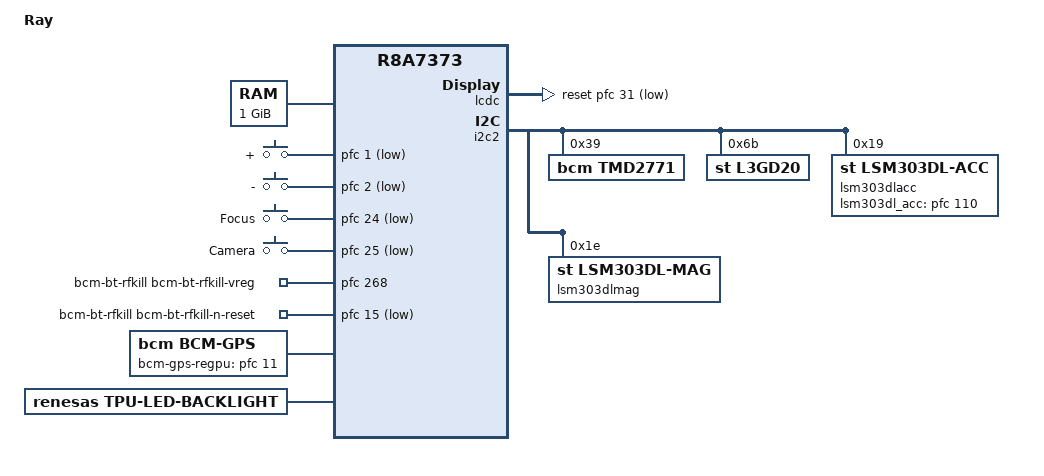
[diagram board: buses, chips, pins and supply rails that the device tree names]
/******************************************************************************/
/*                                                                            */
/* Copyright 2014 Broadcom Corporation                                        */
/*                                                                            */
/* Unless you and Broadcom execute a separate written software license        */
/* agreement governing use of this software, this software is licensed        */
/* to you under the terms of the GNU General Public License version 2         */
/* (the GPL), available at                                                    */
/*                                                                            */
/* http://www.broadcom.com/licenses/GPLv2.php                                 */
/*                                                                            */
/* with the following added to such license:                                  */
/*                                                                            */
/* As a special exception, the copyright holders of this software give        */
/* you permission to link this software with independent modules, and         */
/* to copy and distribute the resulting executable under terms of your        */
/* choice, provided that you also meet, for each linked independent           */
/* module, the terms and conditions of the license of that module.            */
/* An independent module is a module which is not derived from this           */
/* software. The special exception does not apply to any modifications        */
/* of the software.                                                           */
/*                                                                            */
/* Notwithstanding the above, under no circumstances may you combine          */
/* this software in any way with any other Broadcom software provided         */
/* under a license other than the GPL, without Broadcom's express             */
/* prior written consent.                                                     */
/*                                                                            */
/******************************************************************************/

#include "eos-board-common.dtsi"
#include <dt-bindings/gpio/gpio.h>
#include <dt-bindings/input/input.h>

/{
	model = "Ray";
	compatible = "renesas,ray", "renesas,r8a7373";

	chosen {
		bootargs = "console=ttySC0,115200 earlyprintk=sh-sci.0,115200";
		linux,sysrq-reset-seq {
			keyset = <KEY_VOLUMEDOWN KEY_VOLUMEUP>;
			timeout-ms = <3000>;
		};
	};

	memory@40000000 {
		device_type = "memory";
		reg = <0x40000000 0x40000000>;
	};

	gpio-keys {
		compatible = "gpio-keys";
		#address-cells = <0>;
		#size-cells = <0>;
		pinctrl-names = "default";
		pinctrl-0 = <&key_pins>;

		volume-up {
			label = "+";
			gpios = <&pfc 1 GPIO_ACTIVE_LOW>;
			linux,code = <KEY_VOLUMEUP>;
			gpio-key,wakeup;
		};

		volume-down {
			label = "-";
			gpios = <&pfc 2 GPIO_ACTIVE_LOW>;
			linux,code = <KEY_VOLUMEDOWN>;
			gpio-key,wakeup;
		};

		focus {
			label = "Focus";
			gpios = <&pfc 24 GPIO_ACTIVE_LOW>;
			linux,code = <KEY_CAMERA_FOCUS>;
			gpio-key,wakeup;
		};

		camera {
			label = "Camera";
			gpios = <&pfc 25 GPIO_ACTIVE_LOW>;
			linux,code = <KEY_CAMERA>;
			gpio-key,wakeup;
		};
	};

	bcm-bt-rfkill {
		compatible = "bcm,bcm-bt-rfkill";
		bcm-bt-rfkill-vreg-gpio = <&pfc 268 GPIO_ACTIVE_HIGH>;
		bcm-bt-rfkill-n-reset-gpio = <&pfc 15 GPIO_ACTIVE_LOW>;
	};

	lsm303dl-input {
		compatible = "st,lsm303dl-input";
	};

	sound {
		compatible = "renesas,fsi-snd-d2153";
		renesas,fsia = <&fsia>;
		renesas,fsib = <&fsib>;
		renesas,mclk-freq = <13000000>;
		jack-polarity;
		renesas,audio-routing =
			"RECCHL", "AIFOUTL",
			"RECCHR", "AIFOUTR",
			"AIFINL", "VCLK4",
			"AIFINR", "VCLK4",
			"AIFOUTL", "VCLK4",
			"AIFOUTR", "VCLK4",
			"Headphone Jack Left", "Headphone Left PGA",
			"Headphone Jack Right", "Headphone Right PGA",
			"Speaker", "Speaker PGA",
			"Earpiece", "Earpiece PGA";
	};

	bcm-gps {
		compatible = "bcm,bcm-gps";
		bcm-gps-hostwake = <&pfc 0 GPIO_ACTIVE_HIGH>;
		bcm-gps-regpu-gpio = <&pfc 11 GPIO_ACTIVE_HIGH>;
	};

	backlight {
		compatible = "renesas,tpu-led-backlight";
		renesas,tpu-channel = "TPU0TO3";
		max-brightness = <255>;
		default-brightness = <143>;
		pinctrl-names = "default", "idle";
		pinctrl-0 = <&backlight_pin>;
		pinctrl-1 = <&backlight_pin_hiz>;
	};
};

&lcdc {
	pname = "NT35516";
	reset-gpio = <&pfc 31 GPIO_ACTIVE_LOW>;
	te-irq = <&pfc 27 GPIO_ACTIVE_HIGH>;
	esd-irq = <&pfc 6 GPIO_ACTIVE_HIGH>;
};

&pfc {
	hogs {
		unused-pins {
			renesas,groups =
				"scifa0_clk", "scifa1_ctrl", "scifa1_clk",
				"scifb3_data", "vio_cko5", "bsc_rd_we16",
				"bsc_cs0", "bsc_cs2", "bsc_cs4",
				"bsc_wait", "bsc_rdwr", "bsc_data16",
				"bsc_cko", "bsc_addr_0_10","fsib_mclk_in",
				"sdhi2_data4", "sdhi2_ctrl", "sdhi0_wp";
			renesas,pins =
				"PORT3", "PORT6", "PORT8", "PORT10", "PORT14",
				"PORT17", "PORT18", "PORT23", "PORT26",
				"PORT29", "PORT33", "PORT44", "PORT46",
				"PORT47", "PORT72", "PORT73", "PORT74",
				"PORT75", "PORT80", "PORT81", "PORT82",
				"PORT83", "PORT86", "PORT87", "PORT88",
				"PORT89", "PORT90", "PORT96", "PORT97",
				"PORT102", "PORT103", "PORT104", "PORT105",
				"PORT107", "PORT110", "PORT140", "PORT141",
				"PORT142", "PORT198", "PORT199", "PORT275",
				"PORT276", "PORT277", "PORT311", "PORT312";
			bias-pull-down;
		};
	};

	key_pins: keys {
		renesas,pins = "PORT1", "PORT2", "PORT24", "PORT25";
		bias-pull-up;
	};

	backlight_pin: backlight {
		renesas,groups = "tpu0_to3";
		renesas,function = "tpu0";
	};

	backlight_pin_hiz: backlight_hiz {
		renesas,groups = "tpu0_to3";
		bias-high-impedance;
	};
};

&i2c2 {
	#address-cells = <1>;
	#size-cells = <0>;

	/* Proximity Sensor */
	tmd2771: tmd2771@0x39 {
		compatible = "bcm,tmd2771";
		reg = <0x39>;
		gpio-irq-pin = <108>;
		calibrate_target_param = <300000>;
		als_time_param = <200>;
		scale_factor_param = <1>;
		gain_trim_param = <512>;
		filter_history_param = <3>;
		filter_count_param = <1>;
		gain_param = <2>;
		prox_threshold_hi_param = <646>;
		prox_threshold_lo_param = <638>;
		als_threshold_hi_param = <1>;
		als_threshold_lo_param = <0>;
		prox_int_time_param = <238>;
		prox_adc_time_param = <255>;
		prox_wait_time_param = <238>;
		prox_intr_filter_param = <17>;
		prox_config_param = <0>;
		prox_pulse_cnt_param = <96>;
		prox_gain_param = <34>;
		prox_win_sw = <100>;
	};

	/* Gyroscope Sensor */
	l3gd20: l3gd20@6b {
		compatible = "st,l3gd20";
		/* slave address */
		reg = <0x6b>;
		orientation = /bits/ 8 <0x00 0x01 0x00
					0xFF 0x00 0x00
					0x00 0x00 0xFF>;
	};

	/* Accelerometer sensor */
	lsm303dlacc: lsm303dlacc@19 {
		compatible = "st,lsm303dl-acc";
		/* slave address */
		reg = <0x19>;
		lsm303dl_acc-gpio = <&pfc 110 GPIO_ACTIVE_HIGH>;
		orientation = /bits/ 8 <0xFF 0x00 0x00
					0x00 0x01 0x00
					0x00 0x00 0x01>;
	};

	/* Magnetometer Sensor */
	lsm303dlmag: lsm303dlmag@1e {
		compatible = "st,lsm303dl-mag";
		/* slave address */
		reg = <0x1e>;
		orientation = /bits/ 8 <0xFF 0x00 0x00
					0x00 0x01 0x00
					0x00 0x00 0x01>;
	};
};
